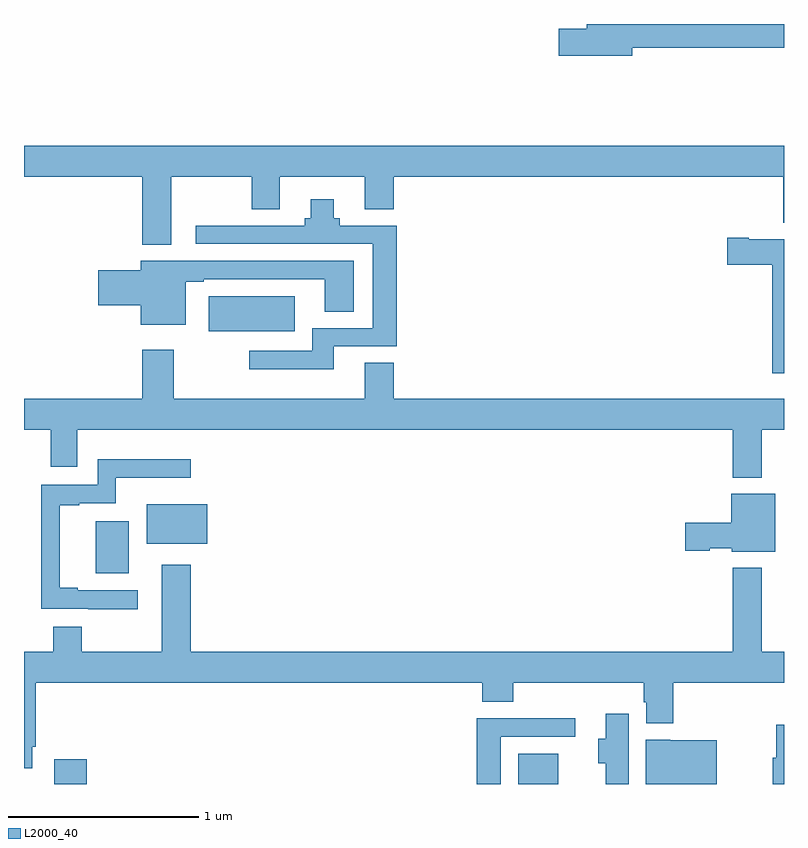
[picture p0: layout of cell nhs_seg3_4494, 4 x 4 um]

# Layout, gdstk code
import gdstk
lib = gdstk.Library(unit=1e-6, precision=1e-09)
def R(c, l, rs):  # rectangles x0, y0, x1, y1
    for r in rs: c.add(gdstk.rectangle(r[:2], r[2:], *l))
def P(c, l, *ps):  # polygons
    for p in ps: c.add(gdstk.Polygon(p, *l))
L2000_40 = (2000, 40)

nhs_seg3_4494 = lib.new_cell('nhs_seg3_4494')
R(nhs_seg3_4494, L2000_40, [(351.158,684.4,351.329,684.529), (353.6,684.4,353.812,684.559), (351.377,685.508,351.55,685.783), (351.647,685.664,351.964,685.873)])
P(nhs_seg3_4494, L2000_40, [(354.202,688.276),(355,688.276),(355,688.4),(353.963,688.4),(353.963,688.376),(353.814,688.376),(353.814,688.234),(354.202,688.234)],
  [(351.775,687.596),(352.198,687.596),(352.198,687.424),(352.345,687.424),(352.345,687.596),(352.793,687.596),(352.793,687.424),(352.946,687.424),(352.946,687.596),(354.995,687.596),(354.995,687.353),(355,687.353),(355,687.76),(351,687.76),(351,687.596),(351.623,687.596),(351.623,687.239),(351.775,687.239)],
  [(352.63,686.703),(352.961,686.703),(352.961,687.339),(352.661,687.339),(352.661,687.378),(352.63,687.378),(352.63,687.478),(352.508,687.478),(352.508,687.378),(352.478,687.378),(352.478,687.339),(351.903,687.339),(351.903,687.243),(352.835,687.243),(352.835,686.799),(352.517,686.799),(352.517,686.679),(352.185,686.679),(352.185,686.582),(352.63,686.582)],
  [(355,687.268),(354.814,687.268),(354.814,687.276),(354.702,687.276),(354.702,687.134),(354.938,687.134),(354.938,686.561),(355,686.561)],
  [(351.85,687.044),(351.946,687.044),(351.946,687.057),(352.583,687.057),(352.583,686.886),(352.735,686.886),(352.735,687.153),(351.614,687.153),(351.614,687.104),(351.39,687.104),(351.39,686.921),(351.614,686.921),(351.614,686.816),(351.85,686.816)],
  [(352.426,686.968),(352.075,686.968),(352.075,686.967),(351.972,686.967),(351.972,686.783),(352.426,686.783)],
  [(354.883,686.264),(355,686.264),(355,686.428),(352.946,686.428),(352.946,686.618),(352.793,686.618),(352.793,686.428),(351.788,686.428),(351.788,686.686),(351.623,686.686),(351.623,686.428),(351,686.428),(351,686.264),(351.14,686.264),(351.14,686.07),(351.28,686.07),(351.28,686.264),(354.731,686.264),(354.731,686.012),(354.883,686.012)],
  [(351.598,685.419),(351.283,685.419),(351.283,685.432),(351.188,685.432),(351.188,685.866),(351.29,685.866),(351.29,685.878),(351.484,685.878),(351.484,686.012),(351.877,686.012),(351.877,686.11),(351.387,686.11),(351.387,685.974),(351.09,685.974),(351.09,685.323),(351.339,685.323),(351.339,685.321),(351.598,685.321)],
  [(354.955,685.927),(354.722,685.927),(354.722,685.775),(354.48,685.775),(354.48,685.628),(354.609,685.628),(354.609,685.64),(354.726,685.64),(354.726,685.622),(354.955,685.622)],
  [(353.411,684.833),(353.576,684.833),(353.576,684.932),(354.263,684.932),(354.263,684.831),(354.275,684.831),(354.275,684.719),(354.416,684.719),(354.416,684.932),(355,684.932),(355,685.096),(354.883,685.096),(354.883,685.537),(354.731,685.537),(354.731,685.096),(351.878,685.096),(351.878,685.555),(351.725,685.555),(351.725,685.096),(351.303,685.096),(351.303,685.228),(351.155,685.228),(351.155,685.096),(351,685.096),(351,684.483),(351.043,684.483),(351.043,684.595),(351.061,684.595),(351.061,684.932),(353.411,684.932)],
  [(354.184,684.769),(354.062,684.769),(354.062,684.639),(354.023,684.639),(354.023,684.509),(354.062,684.509),(354.062,684.4),(354.184,684.4)],
  [(353.509,684.648),(353.902,684.648),(353.902,684.746),(353.384,684.746),(353.384,684.4),(353.509,684.4)],
  [(355,684.712),(354.958,684.712),(354.958,684.537),(354.94,684.537),(354.94,684.4),(355,684.4)],
  [(354.646,684.631),(354.402,684.631),(354.402,684.634),(354.272,684.634),(354.272,684.4),(354.646,684.4)])

lib.write_gds('nhs_seg3_4494.gds')
